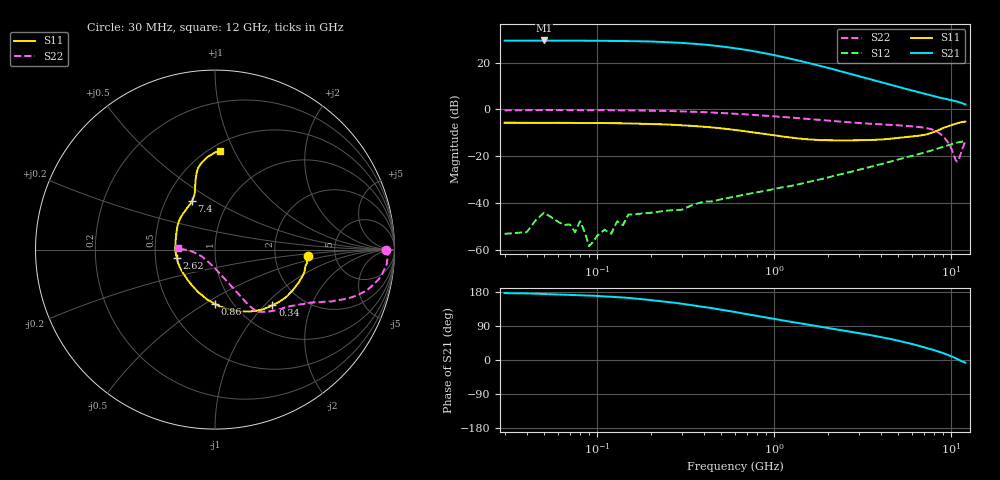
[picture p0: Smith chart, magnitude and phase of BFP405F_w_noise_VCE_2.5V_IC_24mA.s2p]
! Infineon Technologies  Discrete & RF Semiconductors
! BFP405F
! VCE =  2.5 V,  IC =  24 mA
! Common Emitter S-Parameters:  Nov 2015
# GHz  S  MA  R  50
!  f  S11  S21  S12  S22
! GHz  MAG  ANG  MAG  ANG  MAG  ANG  MAG  ANG
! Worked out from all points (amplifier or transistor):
!   239 points, 30 MHz to 12 GHz, reference 50 ohm
!   highest |S21| = 29.5 dB at 50 MHz (marker M1)
!   |S21| within 3 dB of that: start of sweep to 559.3 MHz
!   unconditionally stable (mu >= 1): 1.364 GHz to end of sweep
!   at 300 MHz: K = 0.41, MSG = 35.6 dB, |S12| = -42.9 dB
!   at 1.88 GHz: K = 1.17, MAG = 21.5 dB, |S12| = -29.7 dB
!   at 12 GHz: K = 1.41, MAG = 4.0 dB, |S12| = -13.5 dB
!   lowest NFmin = 2.43 dB at 450 MHz
!   S11 on the Smith chart (normalised r, x): 30 MHz: 3.14, -0.29; 340 MHz: 1.43, -1.11; 860 MHz: 0.83, -0.56; 2.62 GHz: 0.65, -0.06; 7.4 GHz: 0.68, +0.40; 12 GHz: 0.56, +0.88
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0.03  0.5201 -3.7  29.49 176.4  0.0022 60.0  0.9549 -0.1
0.04  0.5197 -5.5  29.55 175.7  0.0024 53.6  0.9591 -0.6
0.05  0.5158 -7.2  29.73 174.2  0.0062 69.5  0.9698 -1.1
0.085  0.5125 -11.6  29.35 170.4  0.0024 54.9  0.9615 -3.1
0.09  0.5132 -12.3  29.39 170.1  0.0012 104.7  0.9622 -3.3
0.15  0.5026 -21.0  28.87 163.9  0.0057 89.1  0.9528 -6.2
0.2  0.4888 -27.5  28.27 158.1  0.0062 81.0  0.9406 -8.3
0.24  0.479 -32.5  27.45 154.3  0.0068 76.1  0.9301 -9.9
0.34  0.4456 -44.1  25.51 145.1  0.0089 78.4  0.8955 -13.2
0.45  0.4114 -55.9  23.26 136.3  0.0109 71.0  0.8581 -16.1
0.6  0.3653 -70.0  20.29 126.4  0.0138 70.2  0.8091 -19.1
0.7  0.338 -77.9  18.59 121.0  0.0155 73.0  0.7809 -20.5
0.86  0.3033 -89.8  16.17 113.8  0.0178 70.5  0.7413 -22.4
1  0.2807 -99.3  14.42 108.3  0.02 71.0  0.7118 -23.9
1.2  0.2552 -111.5  12.43 102.1  0.0226 70.5  0.6767 -25.4
1.64  0.226 -133.6  9.378 91.6  0.0295 71.1  0.6168 -28.6
2  0.2202 -148.2  7.759 84.9  0.035 71.3  0.5793 -31.6
2.62  0.2175 -167.5  5.896 75.7  0.0452 69.4  0.5323 -36.0
4.5  0.2368 154.9  3.374 55.8  0.0761 64.1  0.4705 -46.5
7.4  0.3001 115.2  2.05 30.5  0.1266 52.1  0.3928 -57.3
10.8  0.5063 96.2  1.47 2.6  0.1955 32.5  0.0767 -132.5
12  0.5494 87.3  1.282 -7.2  0.211 25.4  0.2072 178.2
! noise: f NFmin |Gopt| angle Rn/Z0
0.45  2.43  0.04  -155  0.42
0.9  2.46  0.05  -147  0.25
1.5  2.53  0.09  -136  0.33
1.9  2.62  0.1  -132  0.4
2.4  2.79  0.12  -128  0.18
3  2.92  0.13  -125  0.16
3.5  3.04  0.14  -122  0.26
4.5  3.34  0.18  -108  0.56
5.5  3.72  0.34  -88  0.53
